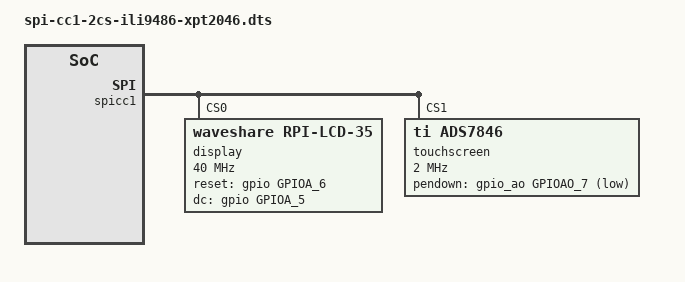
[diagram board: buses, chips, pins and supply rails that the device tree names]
// SPDX-License-Identifier: (GPL-2.0-or-later OR MIT)
/*
 * Display stack: tinydrm (DRM tiny / panel) preferred; staging fbtft is the
 * legacy fallback when both are built. Compatible order is tinydrm-first.
 * Properties tagged "fbtft/legacy" are ignored by tinydrm (CONFIG_FB_TFT_* only).
 */
/*
 * Copyright (c) 2024 Da Xue
 * Author: Da Xue <da@libre.computer>
 */

/dts-v1/;
/plugin/;

#include <dt-bindings/gpio/gpio.h>
#include <dt-bindings/gpio/meson-g12a-gpio.h>
#include <dt-bindings/interrupt-controller/irq.h>
#include <dt-bindings/interrupt-controller/amlogic,meson-g12a-gpio-intc.h>

/ {
	compatible = "libre-computer,aml-a311d-cc",
		"libretech,aml-a311d-cc",
		"libre-computer,aml-a311d-cc-v01",
		"libretech,aml-a311d-cc-v01",
		"libre-computer,aml-s905d3-cc",
		"libretech,aml-s905d3-cc",
		"libre-computer,aml-s905d3-cc-v01",
		"libretech,aml-s905d3-cc-v01",
		"amlogic,a311d",
		"amlogic,g12b",
		"amlogic,s905d3",
		"amlogic,sm1";
	
	fragment@0 {
		target = <&spicc1>;
		
		__overlay__ {

			display@0 {
				compatible = "waveshare,rpi-lcd-35",	/* tinydrm: drm/tiny/ili9486 */
					"ilitek,ili9486";	/* fbtft/legacy: staging/fbtft/fb_ili9486 */
				reg = <0>;
				spi-max-frequency = <40000000>;
				reset-gpios = <&gpio GPIOA_6 GPIO_ACTIVE_HIGH>;
				dc-gpios = <&gpio GPIOA_5 GPIO_ACTIVE_HIGH>;
				status = "okay";
			};

			touchscreen@1 {
				compatible = "ti,ads7846";
				reg = <1>;
				spi-max-frequency = <2000000>;
				interrupt-parent = <&gpio_intc>;
				interrupts = <IRQID_GPIOAO_7 IRQ_TYPE_EDGE_FALLING>;
				pendown-gpio = <&gpio_ao GPIOAO_7 GPIO_ACTIVE_LOW>;
				ti,x-plate-ohms = /bits/ 16 <60>;
				ti,pressure-max = /bits/ 16 <255>;
				wakeup-source;
				status = "okay";
			};
		};
	};
};
